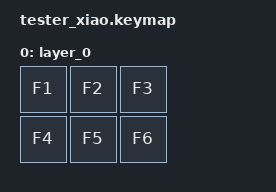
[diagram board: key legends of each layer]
#include <behaviors.dtsi>
#include <dt-bindings/zmk/keys.h>

/ {
    keymap {
        compatible = "zmk,keymap";

        layer_0 {
            bindings = <
&kp F1  &kp F2  &kp F3
&kp F4  &kp F5  &kp F6
            >;
        };
    };
};
